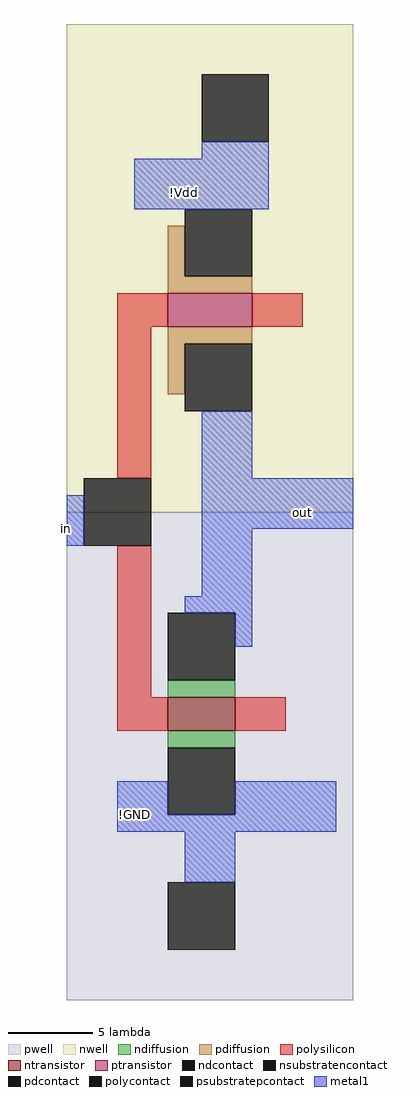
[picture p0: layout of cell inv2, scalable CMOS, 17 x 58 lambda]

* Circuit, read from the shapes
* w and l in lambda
.subckt inv2 !GND !Vdd in out
M1 out in !GND !GND nfet w=4 l=2
M2 !Vdd in out !Vdd pfet w=5 l=2
.ends

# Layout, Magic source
magic
tech scmos
<< nwell >>
rect -8 -5 9 24
<< pwell >>
rect -8 -34 9 -5
<< ntransistor >>
rect -2 -18 2 -16
<< ptransistor >>
rect -2 6 3 8
<< ndiffusion >>
rect -2 -16 2 -15
rect -2 -19 2 -18
<< pdiffusion >>
rect -2 9 -1 12
rect -2 8 3 9
rect -2 5 3 6
rect -2 2 -1 5
<< ndcontact >>
rect -2 -15 2 -11
rect -2 -23 2 -19
<< pdcontact >>
rect -1 9 3 13
rect -1 1 3 5
<< psubstratepcontact >>
rect -2 -31 2 -27
<< nsubstratencontact >>
rect 0 17 4 21
<< polysilicon >>
rect -5 6 -2 8
rect 3 6 6 8
rect -5 -3 -3 6
rect -5 -16 -3 -7
rect -5 -18 -2 -16
rect 2 -18 5 -16
<< polycontact >>
rect -7 -7 -3 -3
<< metal1 >>
rect 0 16 4 17
rect -4 13 4 16
rect 0 -3 3 1
rect -8 -7 -7 -4
rect 0 -6 9 -3
rect 0 -10 3 -6
rect -1 -11 3 -10
rect 2 -13 3 -11
rect -5 -23 -2 -21
rect 2 -23 8 -21
rect -5 -24 8 -23
rect -1 -27 2 -24
<< labels >>
rlabel metal1 6 -5 6 -5 3 out
rlabel metal1 -1 14 -1 14 1 !Vdd
rlabel metal1 -4 -23 -4 -23 5 !GND
rlabel metal1 -8 -6 -8 -6 7 in
<< end >>
